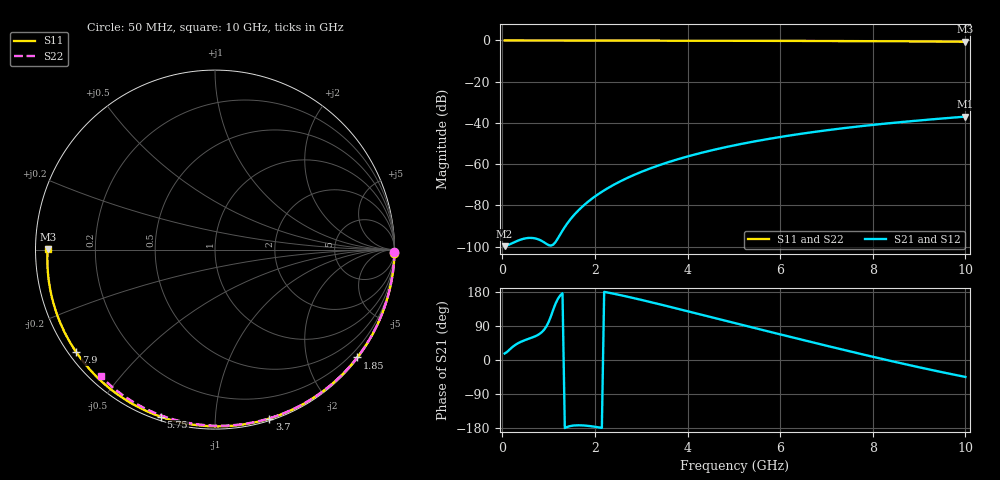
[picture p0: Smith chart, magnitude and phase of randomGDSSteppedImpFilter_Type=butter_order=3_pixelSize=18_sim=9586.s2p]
! freq	dB(S11)	phase(S11)	dB(S12)	phase(S12)
!  dB(S21)	phase(S21)	dB(S22)	phase(S22)
!S-par simulation data
#  GHz  S  DB  R 50
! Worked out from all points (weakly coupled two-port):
!   200 points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, 50 MHz to 10 GHz, reference 50 ohm
!   highest |S21| = -36.92 dB at 10 GHz (marker M1); lowest = -99.8 dB at 50 MHz (marker M2)
!   lowest |S11| = -0.6 dB at 10 GHz (marker M3), VSWR 28.59, Z = 1.75 + j0.111 ohm
!   |S11| at or under -10 dB: nowhere
!   |S22| runs from -0.4 to 0.0 dB; largest |S21 - S12| = 0
!   S11 on the Smith chart (normalised r, x): 50 MHz: open; 1.85 GHz: 0.03, -2.97; 3.7 GHz: 0.02, -1.37; 5.75 GHz: 0.02, -0.73; 7.9 GHz: 0.02, -0.33; 10 GHz: 0.03, +0.00
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0.05  -0.00 -1.0  -99.76 17.2  -99.76 17.2  -0.00 -0.8
0.45  -0.01 -9.2  -96.23 50.6  -96.23 50.6  -0.01 -6.9
0.85  -0.02 -17.3  -97.19 73.1  -97.19 73.1  -0.02 -12.9
1.3  -0.03 -26.3  -92.23 176.2  -92.23 176.2  -0.02 -19.6
1.75  -0.04 -35.2  -80.14 -172.7  -80.14 -172.7  -0.03 -26.3
1.85  -0.05 -37.2  -78.23 -173.8  -78.23 -173.8  -0.04 -27.8
2.15  -0.05 -43.0  -73.39 -179.1  -73.39 -179.1  -0.04 -32.2
2.5  -0.06 -49.7  -68.88 172.5  -68.88 172.5  -0.05 -37.3
2.9  -0.07 -57.3  -64.68 161.6  -64.68 161.6  -0.06 -43.0
3.4  -0.09 -66.6  -60.40 147.0  -60.40 147.0  -0.07 -50.1
3.7  -0.10 -72.1  -58.22 137.9  -58.22 137.9  -0.07 -54.3
4.35  -0.12 -83.8  -54.20 118.0  -54.20 118.0  -0.09 -63.2
5.05  -0.15 -96.0  -50.68 96.5  -50.68 96.5  -0.11 -72.5
5.75  -0.18 -107.9  -47.75 75.2  -47.75 75.2  -0.14 -81.6
6.2  -0.21 -115.4  -46.11 61.6  -46.11 61.6  -0.16 -87.3
6.7  -0.24 -123.7  -44.47 46.6  -44.47 46.6  -0.18 -93.5
7.3  -0.29 -133.6  -42.72 28.8  -42.72 28.8  -0.21 -100.8
7.9  -0.34 -143.6  -41.18 11.4  -41.18 11.4  -0.25 -107.9
8.35  -0.39 -151.1  -40.15 -1.4  -40.15 -1.4  -0.29 -113.2
9.2  -0.49 -165.7  -38.41 -24.5  -38.41 -24.5  -0.36 -123.0
9.6  -0.55 -172.9  -37.66 -34.8  -37.66 -34.8  -0.40 -127.6
10  -0.61 179.7  -36.92 -44.7  -36.92 -44.7  -0.44 -132.1
